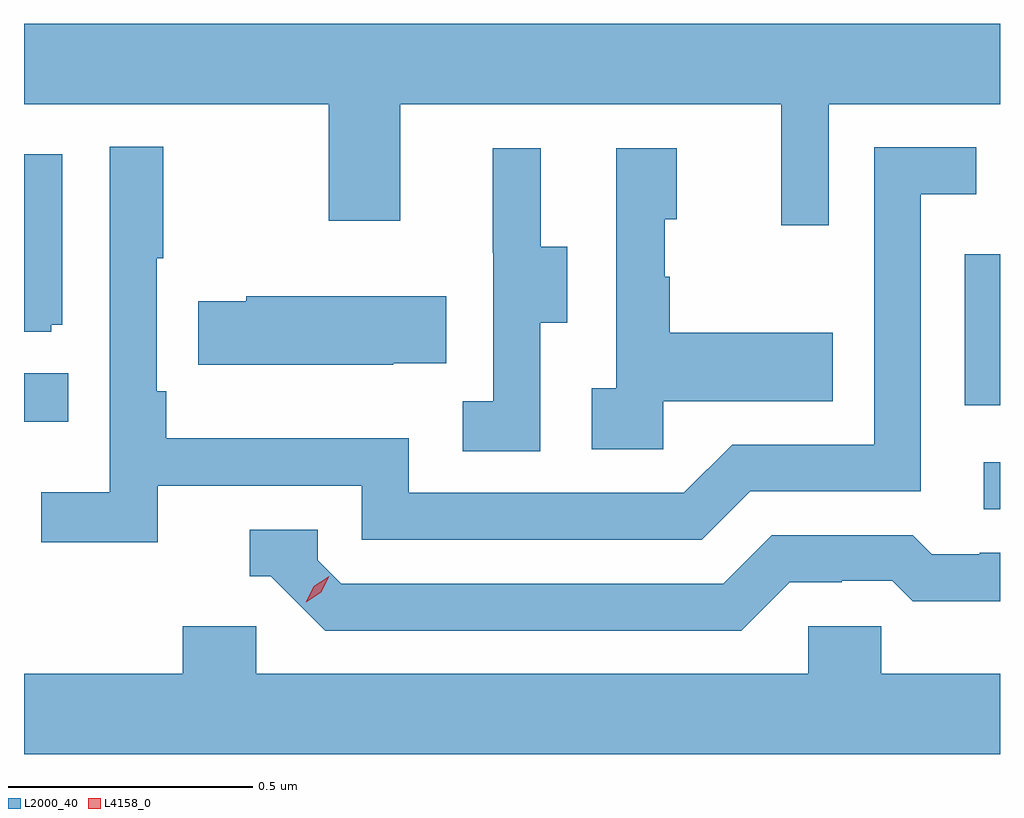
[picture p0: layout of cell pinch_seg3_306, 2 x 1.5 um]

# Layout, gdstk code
import gdstk
lib = gdstk.Library(unit=1e-6, precision=1e-09)
def R(c, l, rs):  # rectangles x0, y0, x1, y1
    for r in rs: c.add(gdstk.rectangle(r[:2], r[2:], *l))
def P(c, l, *ps):  # polygons
    for p in ps: c.add(gdstk.Polygon(p, *l))
L2000_40 = (2000, 40)
L4158_0 = (4158, 0)

pinch_seg3_306 = lib.new_cell('pinch_seg3_306')
R(pinch_seg3_306, L2000_40, [(972.363,714.738,972.396,714.834), (970.396,714.917,970.487,715.016), (972.324,714.951,972.396,715.26)])
P(pinch_seg3_306, L2000_40, [(972.045,715.568),(972.396,715.568),(972.396,715.732),(970.396,715.732),(970.396,715.568),(971.02,715.568),(971.02,715.329),(971.167,715.329),(971.167,715.568),(971.948,715.568),(971.948,715.32),(972.045,715.32)],
  [(970.67,714.786),(971.088,714.786),(971.088,714.675),(971.785,714.675),(971.884,714.774),(972.234,714.774),(972.234,715.383),(972.347,715.383),(972.347,715.479),(972.138,715.479),(972.138,714.87),(971.847,714.87),(971.748,714.771),(971.184,714.771),(971.184,714.883),(970.688,714.883),(970.688,714.979),(970.668,714.979),(970.668,715.252),(970.681,715.252),(970.681,715.48),(970.572,715.48),(970.572,714.772),(970.431,714.772),(970.431,714.67),(970.67,714.67)],
  [(971.706,714.959),(972.053,714.959),(972.053,715.099),(971.719,715.099),(971.719,715.214),(971.709,715.214),(971.709,715.332),(971.734,715.332),(971.734,715.477),(971.61,715.477),(971.61,714.986),(971.559,714.986),(971.559,714.861),(971.706,714.861)],
  [(971.454,715.12),(971.509,715.12),(971.509,715.275),(971.455,715.275),(971.455,715.477),(971.357,715.477),(971.357,715.263),(971.358,715.263),(971.358,714.959),(971.295,714.959),(971.295,714.856),(971.454,714.856)],
  [(970.452,715.116),(970.474,715.116),(970.474,715.465),(970.396,715.465),(970.396,715.101),(970.452,715.101)],
  [(971.153,715.037),(971.261,715.037),(971.261,715.174),(970.851,715.174),(970.851,715.164),(970.753,715.164),(970.753,715.034),(971.153,715.034)],
  [(971.965,714.588),(972.072,714.588),(972.072,714.591),(972.175,714.591),(972.217,714.549),(972.396,714.549),(972.396,714.648),(972.355,714.648),(972.355,714.645),(972.256,714.645),(972.217,714.684),(971.928,714.684),(971.829,714.585),(971.046,714.585),(970.998,714.633),(970.998,714.696),(970.859,714.696),(970.859,714.6),(970.902,714.6),(971.013,714.489),(971.866,714.489)],
  [(972.396,714.4),(972.153,714.4),(972.153,714.498),(972.003,714.498),(972.003,714.4),(970.872,714.4),(970.872,714.498),(970.721,714.498),(970.721,714.4),(970.396,714.4),(970.396,714.236),(972.396,714.236)])
P(pinch_seg3_306, L4158_0, [(970.974,714.547),(970.974,714.548),(970.99,714.58),(971.021,714.6),(971.021,714.6),(971.021,714.6),(971.005,714.567),(970.974,714.547)])

lib.write_gds('pinch_seg3_306.gds')
